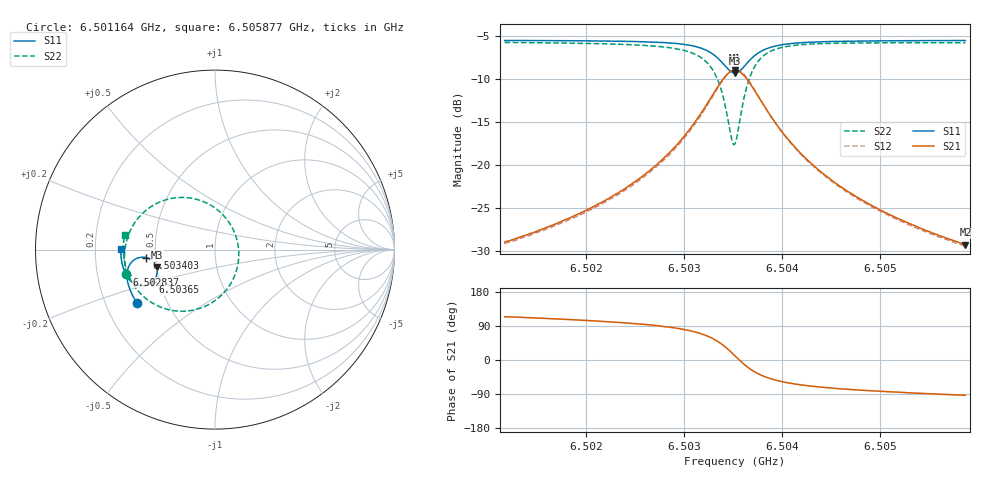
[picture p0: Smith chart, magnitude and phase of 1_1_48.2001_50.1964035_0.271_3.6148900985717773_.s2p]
#  HZ  S  RI  R  50.00
! Rohde & Schwarz Vector Network Analyzer
! Rohde-Schwarz,ZNB20-2Port,1311601062101988,3.16
! Created: UTC 3/20/2024, 11:36:02 AM
! freq[Hz]  re:S11  im:S11  re:S21  im:S21  re:S12  im:S12  re:S22  im:S22
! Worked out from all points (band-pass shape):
!   401 points, 6.501164 GHz to 6.505877 GHz, reference 50 ohm
!   highest |S21| = -9.01 dB at 6.50352 GHz (marker M1); lowest = -29.2 dB at 6.505877 GHz (marker M2)
!   |S21| within 3 dB of the highest: 6.503285 GHz to 6.503756 GHz (471.2 kHz wide, 0.00724 % of centre)
!   lowest |S11| = -9.4 dB at 6.50352 GHz (marker M3), VSWR 2.03, Z = 25 - j5.63 ohm
!   |S11| at or under -10 dB: nowhere
!   |S22| runs from -17.7 to -5.8 dB; largest |S21 - S12| = 0.013
!   S11 on the Smith chart (normalised r, x): 6.501164 GHz: 0.34, -0.27; 6.502837 GHz: 0.33, -0.12; 6.503403 GHz: 0.45, -0.05; 6.50365 GHz: 0.46, -0.20; 6.505877 GHz: 0.31, +0.00
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6.5011636e9  -0.4361 -0.2948  -0.0146 0.0326  -0.0129 0.0326  -0.4951 -0.1333
6.5019531e9  -0.4687 -0.2345  -0.0137 0.0515  -0.0113 0.0509  -0.5045 -0.0455
6.5024009e9  -0.4835 -0.1929  -0.0102 0.073  -0.00696 0.0715  -0.4986 0.0228
6.5027427e9  -0.4904 -0.153  -0.00038 0.1033  0.0034 0.1007  -0.4762 0.0968
6.502837e9  -0.4906 -0.1395  0.00572 0.116  0.00953 0.1128  -0.463 0.1237
6.5030373e9  -0.4848 -0.1049  0.0308 0.1528  0.0345 0.1479  -0.4107 0.1947
6.5031787e9  -0.4683 -0.0741  0.0727 0.1879  0.0755 0.1816  -0.3297 0.2548
6.5033083e9  -0.4305 -0.0471  0.1534 0.2143  0.1541 0.2078  -0.183 0.2906
6.5034026e9  -0.3817 -0.0449  0.2487 0.1962  0.2488 0.1913  -0.0179 0.2437
6.5034851e9  -0.3371 -0.0761  0.33 0.1174  0.3326 0.1132  0.1116 0.0882
6.5035205e9  -0.3258 -0.0994  0.3479 0.0665  0.3519 0.0607  0.1325 -0.00814
6.503544e9  -0.3227 -0.1167  0.3511 0.0303  0.3555 0.0231  0.1293 -0.0747
6.5035794e9  -0.3251 -0.1419  0.3431 -0.0223  0.347 -0.0318  0.0997 -0.1677
6.5036501e9  -0.3485 -0.1809  0.2936 -0.1015  0.2935 -0.1138  -0.0173 -0.2957
6.5037444e9  -0.391 -0.2015  0.2116 -0.1461  0.2063 -0.1568  -0.1844 -0.3433
6.5038151e9  -0.4182 -0.2015  0.1618 -0.1511  0.1548 -0.1595  -0.2773 -0.3295
6.5038976e9  -0.4421 -0.1943  0.1198 -0.1445  0.1121 -0.1504  -0.3512 -0.2962
6.5040625e9  -0.4721 -0.1732  0.0699 -0.1226  0.063 -0.1251  -0.4317 -0.2262
6.50431e9  -0.4951 -0.1419  0.0358 -0.0945  0.0306 -0.095  -0.481 -0.1461
6.5046635e9  -0.5109 -0.1034  0.0158 -0.0691  0.0122 -0.0689  -0.5042 -0.0692
6.5050996e9  -0.5205 -0.062  0.00553 -0.0515  0.00295 -0.0507  -0.5106 -0.00326
6.5058773e9  -0.5261 0.005  -0.00191 -0.0346  -0.00341 -0.0338  -0.504 0.0829
